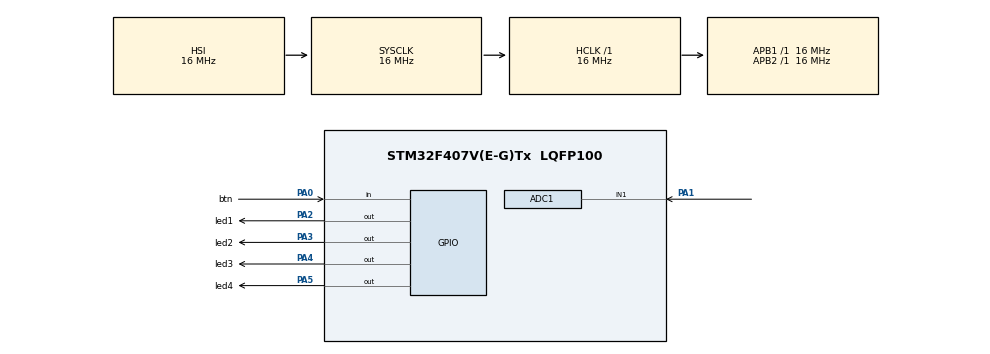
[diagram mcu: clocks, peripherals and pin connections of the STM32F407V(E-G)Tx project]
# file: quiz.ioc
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ADC1.Channel-0\#ChannelRegularConversion=ADC_CHANNEL_1
ADC1.ContinuousConvMode=ENABLE
ADC1.NbrOfConversionFlag=1
ADC1.Rank-0\#ChannelRegularConversion=1
ADC1.Resolution=ADC_RESOLUTION_10B
ADC1.SamplingTime-0\#ChannelRegularConversion=ADC_SAMPLETIME_3CYCLES
ADC1.master=1
Mcu.Family=STM32F4
Mcu.Name=STM32F407V(E-G)Tx
Mcu.Package=LQFP100
NVIC.ADC_IRQn=true\:0\:0\:false\:false\:true\:true
NVIC.PriorityGroup=NVIC_PRIORITYGROUP_4
PA0-WKUP.GPIO_Label=btn
PA0-WKUP.Signal=GPIO_Input
PA1.Signal=ADCx_IN1
PA2.GPIO_Label=led1
PA2.Signal=GPIO_Output
PA3.GPIO_Label=led2
PA3.Signal=GPIO_Output
PA4.GPIO_Label=led3
PA4.Signal=GPIO_Output
PA5.GPIO_Label=led4
PA5.Signal=GPIO_Output
ProjectManager.HeapSize=0x200
ProjectManager.StackSize=0x400
ProjectManager.TargetToolchain=MDK-ARM V5
RCC.AHBFreq_Value=16000000
RCC.APB1Freq_Value=16000000
RCC.APB2Freq_Value=16000000
RCC.CortexFreq_Value=16000000
RCC.HSE_VALUE=25000000
RCC.HSI_VALUE=16000000
RCC.LSE_VALUE=32768
RCC.SYSCLKFreq_VALUE=16000000
RCC.VCOOutputFreq_Value=192000000
SH.ADCx_IN1.0=ADC1_IN1,IN1
board=quiz

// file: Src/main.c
/**
  ******************************************************************************
  * File Name          : main.c
  * Description        : Main program body
  ******************************************************************************
  ** This notice applies to any and all portions of this file
  * that are not between comment pairs USER CODE BEGIN and
  * USER CODE END. Other portions of this file, whether
  * inserted by the user or by software development tools
  * are owned by their respective copyright owners.
  *
  * COPYRIGHT(c) 2018 STMicroelectronics
  *
  * Redistribution and use in source and binary forms, with or without modification,
  * are permitted provided that the following conditions are met:
  *   1. Redistributions of source code must retain the above copyright notice,
  *      this list of conditions and the following disclaimer.
  *   2. Redistributions in binary form must reproduce the above copyright notice,
  *      this list of conditions and the following disclaimer in the documentation
  *      and/or other materials provided with the distribution.
  *   3. Neither the name of STMicroelectronics nor the names of its contributors
  *      may be used to endorse or promote products derived from this software
  *      without specific prior written permission.
  *
  * THIS SOFTWARE IS PROVIDED BY THE COPYRIGHT HOLDERS AND CONTRIBUTORS "AS IS"
  * AND ANY EXPRESS OR IMPLIED WARRANTIES, INCLUDING, BUT NOT LIMITED TO, THE
  * IMPLIED WARRANTIES OF MERCHANTABILITY AND FITNESS FOR A PARTICULAR PURPOSE ARE
  * DISCLAIMED. IN NO EVENT SHALL THE COPYRIGHT HOLDER OR CONTRIBUTORS BE LIABLE
  * FOR ANY DIRECT, INDIRECT, INCIDENTAL, SPECIAL, EXEMPLARY, OR CONSEQUENTIAL
  * DAMAGES (INCLUDING, BUT NOT LIMITED TO, PROCUREMENT OF SUBSTITUTE GOODS OR
  * SERVICES; LOSS OF USE, DATA, OR PROFITS; OR BUSINESS INTERRUPTION) HOWEVER
  * CAUSED AND ON ANY THEORY OF LIABILITY, WHETHER IN CONTRACT, STRICT LIABILITY,
  * OR TORT (INCLUDING NEGLIGENCE OR OTHERWISE) ARISING IN ANY WAY OUT OF THE USE
  * OF THIS SOFTWARE, EVEN IF ADVISED OF THE POSSIBILITY OF SUCH DAMAGE.
  *
  ******************************************************************************
  */

#include "main.h"
#include "stm32f4xx_hal.h"

ADC_HandleTypeDef hadc1;

/* USER CODE BEGIN PV */
/* Private variables ---------------------------------------------------------*/

int adc_value;
int durum=0;
int yon=0;
int bekle=1000;

/* USER CODE END PV */

void SystemClock_Config(void);
static void MX_GPIO_Init(void);
static void MX_ADC1_Init(void);

/* USER CODE BEGIN PFP */
/* Private function prototypes -----------------------------------------------*/

/* USER CODE END PFP */

/* USER CODE BEGIN 0 */
/**
* @brief This function handles ADC1, ADC2 and ADC3 global interrupts.
*/
void ADC_IRQHandler(void)
{
  /* USER CODE BEGIN ADC_IRQn 0 */
	adc_value=HAL_ADC_GetValue(&hadc1);
	HAL_ADC_Start_IT(&hadc1);
  /* USER CODE END ADC_IRQn 0 */
  HAL_ADC_IRQHandler(&hadc1);
  /* USER CODE BEGIN ADC_IRQn 1 */

  /* USER CODE END ADC_IRQn 1 */
}
/* USER CODE END 0 */

int main(void)
{

  /* MCU Configuration----------------------------------------------------------*/

  /* Reset of all peripherals, Initializes the Flash interface and the Systick. */
  HAL_Init();

  /* Configure the system clock */
  SystemClock_Config();

  /* Initialize all configured peripherals */
  MX_GPIO_Init();
  MX_ADC1_Init();

  /* USER CODE BEGIN 2 */
	HAL_ADC_Start_IT(&hadc1);
  /* USER CODE END 2 */

  /* Infinite loop */
  while (1)
  {

  /* USER CODE BEGIN 3 */

		if(adc_value<251){
			yon=0;
			bekle=750;
		}else if(adc_value<501){
			yon=0;
			bekle=300;
		}else if(adc_value<751){
			yon=1;
			bekle=300;
		}else {
			yon=1;
			bekle=750;
		}

		switch(durum){

			case 0:
				HAL_GPIO_WritePin(GPIOA, led1_Pin|led2_Pin|led3_Pin|led4_Pin, GPIO_PIN_RESET);
				HAL_GPIO_WritePin(GPIOA, led1_Pin, GPIO_PIN_SET);
			break;

			case 1:
				HAL_GPIO_WritePin(GPIOA, led1_Pin|led2_Pin|led3_Pin|led4_Pin, GPIO_PIN_RESET);
				HAL_GPIO_WritePin(GPIOA, led2_Pin, GPIO_PIN_SET);
			break;

			case 2:
				HAL_GPIO_WritePin(GPIOA, led1_Pin|led2_Pin|led3_Pin|led4_Pin, GPIO_PIN_RESET);
				HAL_GPIO_WritePin(GPIOA, led3_Pin, GPIO_PIN_SET);
			break;

			case 3:
				HAL_GPIO_WritePin(GPIOA, led1_Pin|led2_Pin|led3_Pin|led4_Pin, GPIO_PIN_RESET);
				HAL_GPIO_WritePin(GPIOA, led4_Pin, GPIO_PIN_SET);
			break;

		}

		if( HAL_GPIO_ReadPin(btn_GPIO_Port, btn_Pin) ){

		if(yon){
			durum++;
		}else{
			durum--;
		}

		}

		if(durum>3){
			durum=0;
		}else if(durum<0){
			durum=3;
		}

		HAL_Delay(bekle);

  }
  /* USER CODE END 3 */

}

/** System Clock Configuration
*/
void SystemClock_Config(void)
{

  RCC_OscInitTypeDef RCC_OscInitStruct;
  RCC_ClkInitTypeDef RCC_ClkInitStruct;

    /**Configure the main internal regulator output voltage
    */
  __HAL_RCC_PWR_CLK_ENABLE();

  __HAL_PWR_VOLTAGESCALING_CONFIG(PWR_REGULATOR_VOLTAGE_SCALE1);

    /**Initializes the CPU, AHB and APB busses clocks
    */
  RCC_OscInitStruct.OscillatorType = RCC_OSCILLATORTYPE_HSI;
  RCC_OscInitStruct.HSIState = RCC_HSI_ON;
  RCC_OscInitStruct.HSICalibrationValue = 16;
  RCC_OscInitStruct.PLL.PLLState = RCC_PLL_NONE;
  if (HAL_RCC_OscConfig(&RCC_OscInitStruct) != HAL_OK)
  {
    _Error_Handler(__FILE__, __LINE__);
  }

    /**Initializes the CPU, AHB and APB busses clocks
    */
  RCC_ClkInitStruct.ClockType = RCC_CLOCKTYPE_HCLK|RCC_CLOCKTYPE_SYSCLK
                              |RCC_CLOCKTYPE_PCLK1|RCC_CLOCKTYPE_PCLK2;
  RCC_ClkInitStruct.SYSCLKSource = RCC_SYSCLKSOURCE_HSI;
  RCC_ClkInitStruct.AHBCLKDivider = RCC_SYSCLK_DIV1;
  RCC_ClkInitStruct.APB1CLKDivider = RCC_HCLK_DIV1;
  RCC_ClkInitStruct.APB2CLKDivider = RCC_HCLK_DIV1;

  if (HAL_RCC_ClockConfig(&RCC_ClkInitStruct, FLASH_LATENCY_0) != HAL_OK)
  {
    _Error_Handler(__FILE__, __LINE__);
  }

    /**Configure the Systick interrupt time
    */
  HAL_SYSTICK_Config(HAL_RCC_GetHCLKFreq()/1000);

    /**Configure the Systick
    */
  HAL_SYSTICK_CLKSourceConfig(SYSTICK_CLKSOURCE_HCLK);

  /* SysTick_IRQn interrupt configuration */
  HAL_NVIC_SetPriority(SysTick_IRQn, 0, 0);
}

/* ADC1 init function */
static void MX_ADC1_Init(void)
{

  ADC_ChannelConfTypeDef sConfig;

    /**Configure the global features of the ADC (Clock, Resolution, Data Alignment and number of conversion)
    */
  hadc1.Instance = ADC1;
  hadc1.Init.ClockPrescaler = ADC_CLOCK_SYNC_PCLK_DIV8;
  hadc1.Init.Resolution = ADC_RESOLUTION_10B;
  hadc1.Init.ScanConvMode = DISABLE;
  hadc1.Init.ContinuousConvMode = DISABLE;
  hadc1.Init.DiscontinuousConvMode = DISABLE;
  hadc1.Init.ExternalTrigConvEdge = ADC_EXTERNALTRIGCONVEDGE_NONE;
  hadc1.Init.ExternalTrigConv = ADC_SOFTWARE_START;
  hadc1.Init.DataAlign = ADC_DATAALIGN_RIGHT;
  hadc1.Init.NbrOfConversion = 1;
  hadc1.Init.DMAContinuousRequests = DISABLE;
  hadc1.Init.EOCSelection = ADC_EOC_SINGLE_CONV;
  if (HAL_ADC_Init(&hadc1) != HAL_OK)
  {
    _Error_Handler(__FILE__, __LINE__);
  }

    /**Configure for the selected ADC regular channel its corresponding rank in the sequencer and its sample time.
    */
  sConfig.Channel = ADC_CHANNEL_1;
  sConfig.Rank = 1;
  sConfig.SamplingTime = ADC_SAMPLETIME_3CYCLES;
  if (HAL_ADC_ConfigChannel(&hadc1, &sConfig) != HAL_OK)
  {
    _Error_Handler(__FILE__, __LINE__);
  }

}

/** Configure pins as
        * Analog
        * Input
        * Output
        * EVENT_OUT
        * EXTI
*/
static void MX_GPIO_Init(void)
{

  GPIO_InitTypeDef GPIO_InitStruct;

  /* GPIO Ports Clock Enable */
  __HAL_RCC_GPIOA_CLK_ENABLE();

  /*Configure GPIO pin Output Level */
  HAL_GPIO_WritePin(GPIOA, led1_Pin|led2_Pin|led3_Pin|led4_Pin, GPIO_PIN_RESET);

  /*Configure GPIO pin : btn_Pin */
  GPIO_InitStruct.Pin = btn_Pin;
  GPIO_InitStruct.Mode = GPIO_MODE_INPUT;
  GPIO_InitStruct.Pull = GPIO_NOPULL;
  HAL_GPIO_Init(btn_GPIO_Port, &GPIO_InitStruct);

  /*Configure GPIO pins : led1_Pin led2_Pin led3_Pin led4_Pin */
  GPIO_InitStruct.Pin = led1_Pin|led2_Pin|led3_Pin|led4_Pin;
  GPIO_InitStruct.Mode = GPIO_MODE_OUTPUT_PP;
  GPIO_InitStruct.Pull = GPIO_NOPULL;
  GPIO_InitStruct.Speed = GPIO_SPEED_FREQ_LOW;
  HAL_GPIO_Init(GPIOA, &GPIO_InitStruct);

}

void _Error_Handler(char * file, int line)
{
  while(1)
  {
  }
}

/************************ (C) COPYRIGHT STMicroelectronics *****END OF FILE****/
